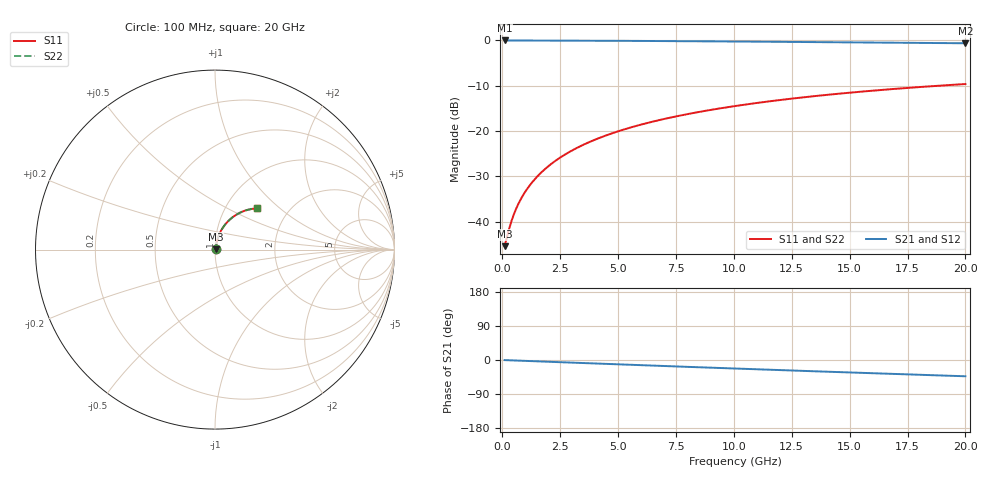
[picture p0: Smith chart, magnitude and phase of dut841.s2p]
! Touchstone file exported from HFSS 2026.1.0
!  File:  C:/ffzhzh/LocalFiles/Ansys_Project_Files/temp_train_TMRDL_841_1783156806_18472.aedt
!  Generated:  05:21:15 PM Jul  4, 2026
!  Design:  TMRDL
!  Project:  temp_train_TMRDL_841_1783156806_18472
! Variables:
!  h_bsmrdl = 2um
!  h_ox = 20um
!  h_rdl = 5um
!  h_sub = 80um
!  h_tmrdl = 3.97um
!  h_tsv = 80um
!  h_via = 3um
!  l_bsmrdl = 300um
!  l_sub = 1094.38um
!  l_tmrdl = 694.38um
!  m_sub = 200um
!  pitch = 26.4um
!  r_tsv = 6um
!  s_tmrdl = 10um
!  w_bsmrdl = 18um
!  w_sub = 500um
!  w_tmrdl = 12.82um
!  x_tsv_center1 = 700.79um
!  x_tsv_center2 = 1018.79um
!  x_tsv_center3 = 1725.99um
!  x_tsv_center4 = 2043.99um
!  x_tsv_center5 = 2751.19um
!  x_tsv_center6 = 3069.19um
# GHz S MA R 50.000000
! Terminal data exported
! Port[1] = TM_RDL1_1_T1
! Port[2] = TM_RDL1_1_T2
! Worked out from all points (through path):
!   200 points, 100 MHz to 20 GHz, reference 50 ohm
!   highest |S21| = -0.04 dB at 100 MHz (marker M1); lowest = -0.7 dB at 20 GHz (marker M2)
!   group delay of S21, straight-line fit = 5.96 ps
!   lowest |S11| = -45.4 dB at 100 MHz (marker M3), VSWR 1.01, Z = 50.5 + j0.228 ohm
!   |S11| at or under -10 dB: start of sweep to 18.89 GHz
!   |S22| runs from -45.4 to -9.6 dB; largest |S21 - S12| = 2.6e-15
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0.1  0.005396 24.7  0.9951 -0.2  0.9951 -0.2  0.005396 24.7
! Gamma 0 0 0 0
! Port Impedance 50 0 50 0
0.3  0.008442 51.3  0.9948 -0.7  0.9948 -0.7  0.008443 51.3
0.4  0.01026 57.5  0.9946 -1.0  0.9946 -1.0  0.01026 57.5
0.5  0.01211 61.7  0.9944 -1.2  0.9944 -1.2  0.01211 61.7
0.6  0.01399 64.8  0.9943 -1.4  0.9943 -1.4  0.01399 64.8
0.7  0.01588 67.1  0.9942 -1.7  0.9942 -1.7  0.01588 67.1
0.9  0.01969 70.4  0.9939 -2.1  0.9939 -2.1  0.0197 70.4
1.2  0.0255 73.3  0.9936 -2.8  0.9936 -2.8  0.0255 73.3
1.4  0.02941 74.5  0.9934 -3.3  0.9934 -3.3  0.02941 74.5
1.7  0.0353 75.6  0.9931 -4.0  0.9931 -4.0  0.0353 75.6
2.2  0.04516 76.4  0.9924 -5.1  0.9924 -5.1  0.04516 76.4
2.8  0.05696 76.4  0.9914 -6.5  0.9914 -6.5  0.05696 76.4
3.5  0.07063 75.8  0.9899 -8.1  0.9899 -8.1  0.07063 75.7
4.2  0.08413 74.8  0.9883 -9.7  0.9883 -9.7  0.08414 74.8
5  0.09933 73.4  0.9862 -11.5  0.9862 -11.5  0.09933 73.4
5.9  0.1161 71.7  0.9835 -13.5  0.9835 -13.5  0.1161 71.7
6.8  0.1325 70.0  0.9807 -15.5  0.9807 -15.5  0.1325 70.0
8.3  0.159 67.0  0.9755 -18.7  0.9755 -18.7  0.159 67.0
10.1  0.1894 63.4  0.9687 -22.6  0.9687 -22.6  0.1894 63.4
13.4  0.2413 56.9  0.9553 -29.6  0.9553 -29.6  0.2413 56.8
16.7  0.2881 50.4  0.9412 -36.4  0.9412 -36.4  0.2881 50.4
20  0.3295 44.2  0.9268 -42.9  0.9268 -42.9  0.3295 44.1
